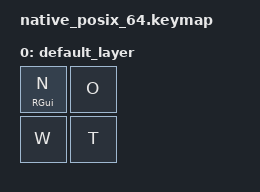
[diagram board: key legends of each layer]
#include <dt-bindings/zmk/keys.h>
#include <behaviors.dtsi>
#include <dt-bindings/zmk/kscan_mock.h>

/* Same hold-tap parameters as the shipped hmr in DactylZMKGur config/cosmos.keymap.
   pos0 (0,0) = right-hand home mod RGUI/N, pos1 (0,1) = same-hand key O,
   pos2 (1,0) = left-hand W, pos3 (1,1) = left-hand T. hold-trigger = left keys. */
/ {
    behaviors {
        hmr: homerow_mods_right {
            compatible = "zmk,behavior-hold-tap";
            #binding-cells = <2>;
            flavor = "balanced";
            tapping-term-ms = <200>;
            quick-tap-ms = <0>;
            require-prior-idle-ms = <150>;
            bindings = <&kp>, <&kp>;
            hold-trigger-key-positions = <2 3>;
            hold-trigger-on-release;
        };
    };
    keymap {
        compatible = "zmk,keymap";
        default_layer {
            bindings = <
                &hmr RGUI N &kp O
                &kp W &kp T>;
        };
    };
};

&kscan {
    events = <
        /* warm-up tap so require-prior-idle starts from a known idle state */
        ZMK_MOCK_PRESS(1,1,10)
        ZMK_MOCK_RELEASE(1,1,500)
        ZMK_MOCK_PRESS(1,1,10)
         ZMK_MOCK_RELEASE(1,1,100)
         ZMK_MOCK_PRESS(0,0,10)
         ZMK_MOCK_PRESS(1,0,10)
         ZMK_MOCK_RELEASE(1,0,10)
         ZMK_MOCK_RELEASE(0,0,10)
    >;
};
